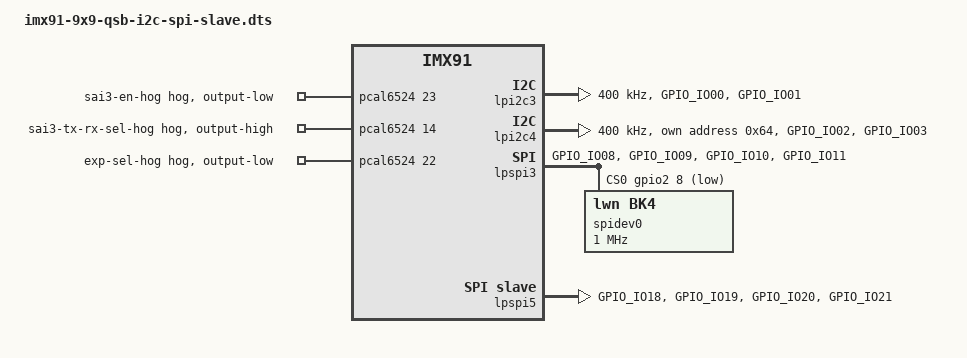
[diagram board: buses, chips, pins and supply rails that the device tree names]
// SPDX-License-Identifier: (GPL-2.0+ OR MIT)
/*
 * Copyright 2024 NXP
 */

#include "imx91-9x9-qsb.dts"
#include <dt-bindings/i2c/i2c.h>

/*
 * When you need to use the Raspberry Pi interface to connect two
 * IMX91-9x9-QSB boards, one is master board and another one is
 * target board, you can refer to the following configuration and
 * pad connection.
 */

/* enable lpspi3 and lpspi5 pads on RPI */
&pcal6524 {
	sai3-en-hog {
		gpio-hog;
		gpios = <23 GPIO_ACTIVE_HIGH>;
		output-low;
	};

	sai3-tx-rx-sel-hog {
		gpio-hog;
		gpios = <14 GPIO_ACTIVE_HIGH>;
		output-high;
	};

	/* EXP_SEL selects pins between board and RPi */
	exp-sel-hog {
		gpio-hog;
		gpios = <22 GPIO_ACTIVE_HIGH>;
		output-low;
	};
};

/*
 * LPI2C pad connection on board:
 * I2C3 as master and I2C4 as target:
 * SDA: J4.3 <--> J4.27
 * SCL：J4.5 <--> J4.28
 * GND: GND  <-->  GND
 */

/* lpi2c3 work as a lpi2c master bus */
&lpi2c3 {
	clock-frequency = <400000>;
	pinctrl-names = "default";
	pinctrl-0 = <&pinctrl_lpi2c3>;
	status = "okay";
};

/*
 * lpi2c4 work as a lpi2c slave bus.
 * The simulated 256 bytes-size slave-eeprom is instantiated
 * at 7 bit address 0x64 on lpi2c6.
 */
&lpi2c4 {
	clock-frequency = <400000>;
	pinctrl-names = "default";
	pinctrl-0 = <&pinctrl_lpi2c4>;
	status = "okay";

	eeprom@64 {
		compatible = "linux,slave-24c02";
		reg = <(0x64 | I2C_OWN_SLAVE_ADDRESS)>;
	};
};

/*
 * LPSPI pad connection on board:
 * SPI3 as master and SPI5 as target.
 * SOUT: J4.19 <--> J4.38
 * SIN:  J4.21 <--> J4.35
 * SCK:  J4.23 <--> J4.40
 * CS:   J4.24 <--> J4.12
 * GND:   GND  <-->  GND
 */

/* lpspi3 work as a lpspi master bus */
&lpspi3 {
	fsl,spi-num-chipselects = <1>;
	pinctrl-names = "default";
	pinctrl-0 = <&pinctrl_lpspi3>;
	cs-gpios = <&gpio2 8 GPIO_ACTIVE_LOW>;
	status = "okay";

	spidev0: spi@0 {
		reg = <0>;
		compatible = "lwn,bk4";
		spi-max-frequency = <1000000>;
	};
};

/* lpspi5 work as a lpspi slave bus */
&lpspi5 {
	#address-cells = <0>;
	fsl,spi-num-chipselects = <1>;
	pinctrl-names = "default";
	pinctrl-0 = <&pinctrl_lpspi5>;
	spi-slave;
	status = "okay";

	slave {
		compatible = "lwn,bk4";
		spi-max-frequency = <1000000>;
	};
};

&iomuxc {
	pinctrl_lpi2c3: lpi2c3grp {
		fsl,pins = <
			MX91_PAD_GPIO_IO00__LPI2C3_SDA			0x40000b9e
			MX91_PAD_GPIO_IO01__LPI2C3_SCL			0x40000b9e
		>;
	};

	pinctrl_lpi2c4: lpi2c4grp {
		fsl,pins = <
			MX91_PAD_GPIO_IO02__LPI2C4_SDA			0x40000b9e
			MX91_PAD_GPIO_IO03__LPI2C4_SCL			0x40000b9e
		>;
	};

	pinctrl_lpspi3: lpspi3grp {
		fsl,pins = <
			MX91_PAD_GPIO_IO08__GPIO2_IO8		0x3fe
			MX91_PAD_GPIO_IO09__LPSPI3_SIN		0x3fe
			MX91_PAD_GPIO_IO10__LPSPI3_SOUT		0x3fe
			MX91_PAD_GPIO_IO11__LPSPI3_SCK		0x3fe
		>;
	};

	pinctrl_lpspi5: lpspi5grp {
		fsl,pins = <
			MX91_PAD_GPIO_IO18__LPSPI5_PCS0		0x3fe
			MX91_PAD_GPIO_IO19__LPSPI5_SIN		0x3fe
			MX91_PAD_GPIO_IO20__LPSPI5_SOUT		0x3fe
			MX91_PAD_GPIO_IO21__LPSPI5_SCK		0x3fe
		>;
	};
};
